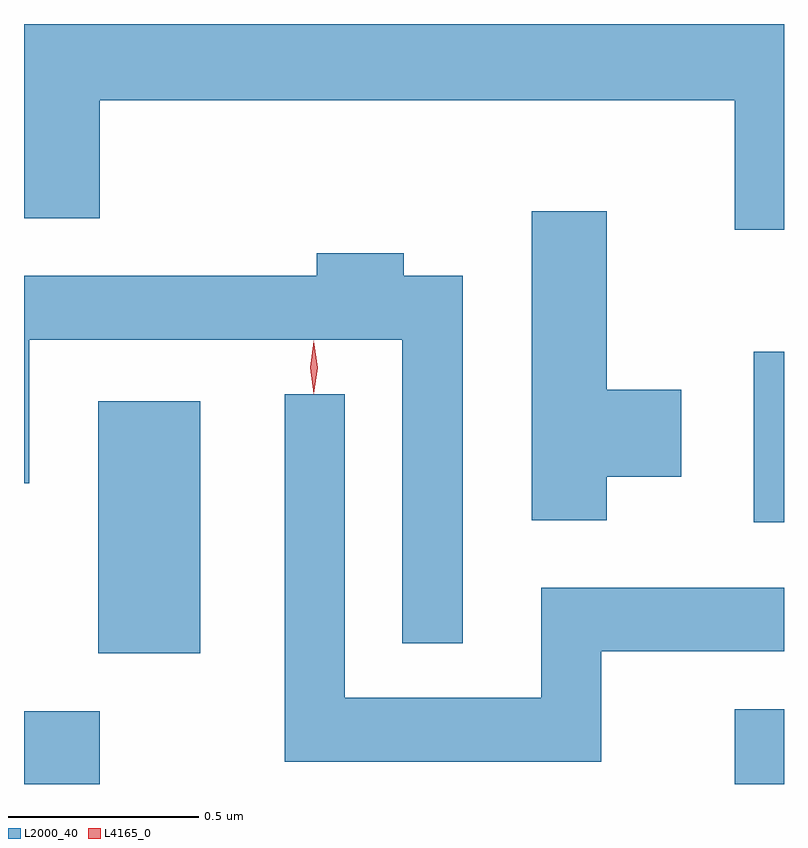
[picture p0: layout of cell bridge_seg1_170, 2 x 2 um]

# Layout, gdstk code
import gdstk
lib = gdstk.Library(unit=1e-6, precision=1e-09)
def R(c, l, rs):  # rectangles x0, y0, x1, y1
    for r in rs: c.add(gdstk.rectangle(r[:2], r[2:], *l))
def P(c, l, *ps):  # polygons
    for p in ps: c.add(gdstk.Polygon(p, *l))
L2000_40 = (2000, 40)
L4165_0 = (4165, 0)

bridge_seg1_170 = lib.new_cell('bridge_seg1_170')
R(bridge_seg1_170, L2000_40, [(767.85,946.617,768.049,946.809), (769.721,946.617,769.85,946.814), (768.046,946.961,768.314,947.624), (769.771,947.306,769.85,947.754)])
P(bridge_seg1_170, L2000_40, [(769.85,948.617),(767.85,948.617),(767.85,948.106),(768.049,948.106),(768.049,948.416),(769.721,948.416),(769.721,948.076),(769.85,948.076)],
  [(769.384,947.426),(769.579,947.426),(769.579,947.654),(769.384,947.654),(769.384,948.124),(769.186,948.124),(769.186,947.311),(769.384,947.311)],
  [(769.004,947.954),(768.849,947.954),(768.849,948.014),(768.621,948.014),(768.621,947.954),(767.85,947.954),(767.85,947.408),(767.864,947.408),(767.864,947.786),(768.846,947.786),(768.846,946.988),(769.004,946.988)],
  [(769.369,946.966),(769.85,946.966),(769.85,947.134),(769.211,947.134),(769.211,946.844),(768.694,946.844),(768.694,947.643),(768.536,947.643),(768.536,946.676),(769.369,946.676)])
P(bridge_seg1_170, L4165_0, [(768.613,947.643),(768.612,947.644),(768.603,947.713),(768.612,947.782),(768.613,947.783),(768.613,947.782),(768.623,947.713),(768.613,947.644)],
  [(768.612,947.647),(768.603,947.714),(768.612,947.78),(768.612,947.78),(768.613,947.78),(768.622,947.714),(768.613,947.647),(768.613,947.647)])

lib.write_gds('bridge_seg1_170.gds')
